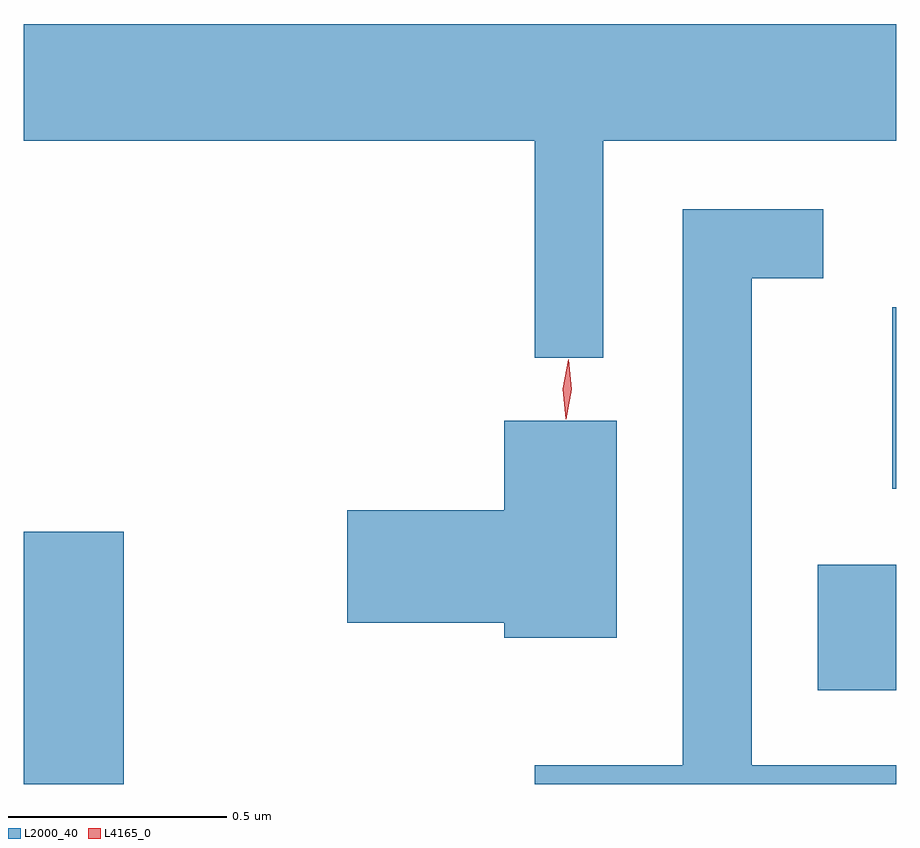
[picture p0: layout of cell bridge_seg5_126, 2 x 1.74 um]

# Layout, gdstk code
import gdstk
lib = gdstk.Library(unit=1e-6, precision=1e-09)
def R(c, l, rs):  # rectangles x0, y0, x1, y1
    for r in rs: c.add(gdstk.rectangle(r[:2], r[2:], *l))
def P(c, l, *ps):  # polygons
    for p in ps: c.add(gdstk.Polygon(p, *l))
L2000_40 = (2000, 40)
L4165_0 = (4165, 0)

bridge_seg5_126 = lib.new_cell('bridge_seg5_126')
R(bridge_seg5_126, L2000_40, [(1020.785,1521.921,1021.014,1522.499), (1022.606,1522.136,1022.785,1522.424), (1022.776,1522.598,1022.785,1523.014)])
P(bridge_seg5_126, L2000_40, [(1022.114,1523.396),(1022.785,1523.396),(1022.785,1523.664),(1020.785,1523.664),(1020.785,1523.396),(1021.956,1523.396),(1021.956,1522.898),(1022.114,1522.898)],
  [(1022.785,1521.964),(1022.454,1521.964),(1022.454,1523.081),(1022.618,1523.081),(1022.618,1523.239),(1022.296,1523.239),(1022.296,1521.964),(1021.956,1521.964),(1021.956,1521.921),(1022.785,1521.921)],
  [(1022.144,1522.754),(1021.886,1522.754),(1021.886,1522.549),(1021.526,1522.549),(1021.526,1522.291),(1021.886,1522.291),(1021.886,1522.256),(1022.144,1522.256)])
P(bridge_seg5_126, L4165_0, [(1022.028,1522.761),(1022.028,1522.761),(1022.021,1522.827),(1022.033,1522.891),(1022.034,1522.892),(1022.034,1522.891),(1022.041,1522.826),(1022.029,1522.761)],
  [(1022.028,1522.758),(1022.028,1522.758),(1022.021,1522.827),(1022.033,1522.894),(1022.034,1522.895),(1022.034,1522.894),(1022.041,1522.826),(1022.029,1522.758)])

lib.write_gds('bridge_seg5_126.gds')
